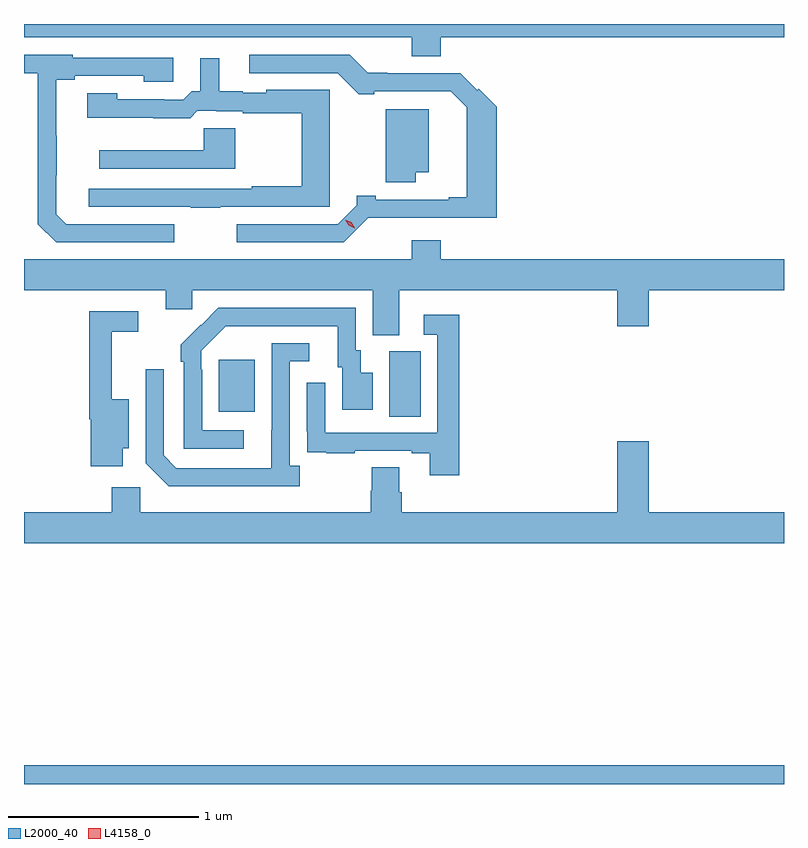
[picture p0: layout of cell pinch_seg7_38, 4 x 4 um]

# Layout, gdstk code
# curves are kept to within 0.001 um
import gdstk
lib = gdstk.Library(unit=1e-6, precision=1e-09)
def R(c, l, rs):  # rectangles x0, y0, x1, y1
    for r in rs: c.add(gdstk.rectangle(r[:2], r[2:], *l))
def P(c, l, *ps):  # polygons
    for p in ps: c.add(gdstk.Polygon(p, *l))
L2000_40 = (2000, 40)
L4158_0 = (4158, 0)

pinch_seg7_38 = lib.new_cell('pinch_seg7_38')
R(pinch_seg7_38, L2000_40, [(1048.997,1043.306,1052.997,1043.404), (1050.92,1045.24,1051.084,1045.584), (1050.023,1045.265,1050.211,1045.54)])
P(pinch_seg7_38, L2000_40, [(1051.19,1047.236),(1052.997,1047.236),(1052.997,1047.306),(1048.997,1047.306),(1048.997,1047.236),(1051.037,1047.236),(1051.037,1047.137),(1051.19,1047.137)],
  [(1050.809,1046.285),(1051.484,1046.286),(1051.484,1046.871),(1051.39,1046.965),(1051.383,1046.958),(1051.293,1047.048),(1050.91,1047.048),(1050.91,1047.05),(1050.806,1047.05),(1050.711,1047.144),(1050.183,1047.144),(1050.183,1047.048),(1050.648,1047.048),(1050.76,1046.936),(1050.841,1046.936),(1050.841,1046.952),(1051.242,1046.952),(1051.326,1046.869),(1051.326,1046.762),(1051.328,1046.762),(1051.328,1046.395),(1051.232,1046.395),(1051.232,1046.382),(1050.847,1046.382),(1050.847,1046.402),(1050.747,1046.402),(1050.747,1046.352),(1050.648,1046.253),(1050.117,1046.253),(1050.117,1046.157),(1050.681,1046.157)],
  [(1049.788,1046.253),(1049.22,1046.253),(1049.167,1046.306),(1049.167,1046.51),(1049.169,1046.51),(1049.169,1046.717),(1049.167,1046.717),(1049.167,1047.013),(1049.263,1047.013),(1049.263,1047.033),(1049.626,1047.033),(1049.626,1047.002),(1049.782,1047.002),(1049.782,1047.129),(1049.253,1047.129),(1049.253,1047.144),(1048.997,1047.144),(1048.997,1047.048),(1049.07,1047.048),(1049.07,1046.253),(1049.166,1046.157),(1049.788,1046.157)],
  [(1050.029,1046.343),(1050.607,1046.343),(1050.607,1046.959),(1050.273,1046.959),(1050.273,1046.943),(1050.147,1046.943),(1050.147,1046.951),(1050.025,1046.951),(1050.025,1047.127),(1049.924,1047.127),(1049.924,1046.951),(1049.879,1046.951),(1049.835,1046.907),(1049.735,1046.907),(1049.735,1046.91),(1049.487,1046.91),(1049.487,1046.941),(1049.331,1046.941),(1049.331,1046.813),(1049.677,1046.813),(1049.677,1046.811),(1049.871,1046.811),(1049.91,1046.85),(1050.01,1046.85),(1050.01,1046.847),(1050.147,1046.847),(1050.147,1046.835),(1050.46,1046.835),(1050.46,1046.452),(1050.196,1046.452),(1050.196,1046.439),(1049.337,1046.439),(1049.337,1046.343),(1049.875,1046.343),(1049.875,1046.338),(1050.029,1046.338)],
  [(1051.06,1046.525),(1051.126,1046.525),(1051.126,1046.857),(1050.902,1046.857),(1050.902,1046.472),(1051.06,1046.472)],
  [(1050.108,1046.758),(1049.942,1046.758),(1049.942,1046.641),(1049.394,1046.641),(1049.394,1046.544),(1050.108,1046.544)],
  [(1050.973,1045.904),(1052.12,1045.904),(1052.12,1045.716),(1052.284,1045.716),(1052.284,1045.904),(1052.997,1045.904),(1052.997,1046.068),(1051.19,1046.068),(1051.19,1046.167),(1051.037,1046.167),(1051.037,1046.068),(1048.997,1046.068),(1048.997,1045.904),(1049.744,1045.904),(1049.744,1045.806),(1049.883,1045.806),(1049.883,1045.904),(1050.833,1045.904),(1050.833,1045.669),(1050.973,1045.669)],
  [(1050.154,1045.167),(1049.934,1045.167),(1049.934,1045.487),(1049.931,1045.487),(1049.931,1045.587),(1050.06,1045.716),(1050.647,1045.716),(1050.647,1045.5),(1050.671,1045.5),(1050.671,1045.275),(1050.832,1045.275),(1050.832,1045.471),(1050.769,1045.471),(1050.769,1045.59),(1050.744,1045.59),(1050.744,1045.812),(1050.02,1045.812),(1049.823,1045.617),(1049.823,1045.529),(1049.838,1045.529),(1049.838,1045.071),(1050.154,1045.071)],
  [(1049.518,1045.073),(1049.548,1045.073),(1049.548,1045.33),(1049.459,1045.33),(1049.459,1045.686),(1049.599,1045.686),(1049.599,1045.794),(1049.341,1045.794),(1049.341,1045.226),(1049.348,1045.226),(1049.348,1044.978),(1049.518,1044.978)],
  [(1051.289,1045.777),(1051.101,1045.777),(1051.101,1045.671),(1051.173,1045.671),(1051.173,1045.155),(1050.582,1045.155),(1050.582,1045.417),(1050.486,1045.417),(1050.486,1045.162),(1050.487,1045.162),(1050.487,1045.053),(1050.589,1045.053),(1050.589,1045.047),(1050.737,1045.047),(1050.737,1045.059),(1051.037,1045.059),(1051.037,1045.047),(1051.133,1045.047),(1051.133,1044.93),(1051.289,1044.93)],
  [(1050.448,1044.982),(1050.396,1044.982),(1050.396,1045.53),(1050.499,1045.53),(1050.499,1045.626),(1050.3,1045.626),(1050.299,1044.969),(1049.799,1044.969),(1049.733,1045.035),(1049.733,1045.489),(1049.637,1045.489),(1049.637,1044.993),(1049.758,1044.872),(1050.448,1044.872)],
  [(1052.997,1044.736),(1052.284,1044.736),(1052.284,1045.111),(1052.12,1045.111),(1052.12,1044.736),(1050.986,1044.736),(1050.986,1044.842),(1050.973,1044.842),(1050.973,1044.974),(1050.826,1044.974),(1050.826,1044.849),(1050.821,1044.849),(1050.821,1044.736),(1049.61,1044.736),(1049.61,1044.868),(1049.459,1044.868),(1049.459,1044.736),(1048.997,1044.736),(1048.997,1044.572),(1052.997,1044.572)])
P(pinch_seg7_38, L4158_0, [(1050.737,1046.232),(1050.706,1046.247),(1050.688,1046.277),(1050.688,1046.277),(1050.689,1046.277),(1050.72,1046.262),(1050.737,1046.233),(1050.737,1046.232)])

lib.write_gds('pinch_seg7_38.gds')
